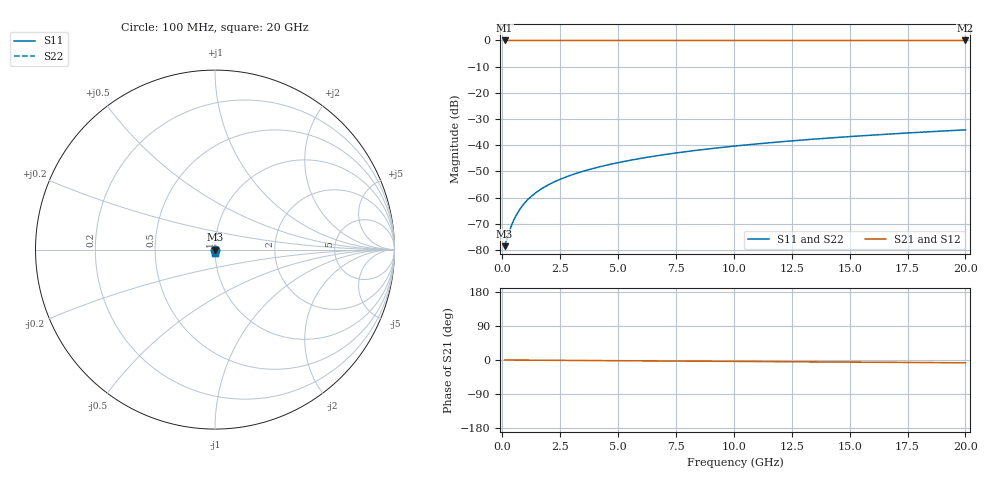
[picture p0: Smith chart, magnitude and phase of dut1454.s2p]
! Touchstone file exported from HFSS 2026.1.0
!  File:  C:/ffzhzh/LocalFiles/Ansys_Project_Files/temp_train_TSV_1454_1783197944_22436.aedt
!  Generated:  04:47:03 AM Jul  5, 2026
!  Design:  TSV
!  Project:  temp_train_TSV_1454_1783197944_22436
! Variables:
!  h_bsmrdl = 2um
!  h_ox = 20um
!  h_rdl = 5um
!  h_sub = 73.92um
!  h_tmrdl = 5um
!  h_tsv = 73.92um
!  h_via = 3um
!  l_bsmrdl = 300um
!  l_sub = 422.44um
!  l_tmrdl = 200um
!  m_sub = 200um
!  pitch = 38.84um
!  r_tsv = 11.22um
!  s_tmrdl = 10um
!  w_bsmrdl = 18um
!  w_sub = 500um
!  w_tmrdl = 12um
!  x_tsv_center1 = 206um
!  x_tsv_center2 = 524um
!  x_tsv_center3 = 736um
!  x_tsv_center4 = 1054um
!  x_tsv_center5 = 1266um
!  x_tsv_center6 = 1584um
# GHz S MA R 50.000000
! Terminal data exported
! Port[1] = TSV1_1_T1
! Port[2] = TSV1_1_T2
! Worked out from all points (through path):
!   200 points, 100 MHz to 20 GHz, reference 50 ohm
!   highest |S21| = 0.00 dB at 100 MHz (marker M1); lowest = 0.0 dB at 20 GHz (marker M2)
!   group delay of S21, straight-line fit = 1.02 ps
!   lowest |S11| = -78.5 dB at 100 MHz (marker M3), VSWR 1.00, Z = 50 - j0.00565 ohm
!   |S11| at or under -10 dB: start of sweep to end of sweep
!   |S22| runs from -78.5 to -34.1 dB; largest |S21 - S12| = 4.5e-15
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0.1  0.0001186 -28.4  0.9999 -0.0  0.9999 -0.0  0.0001186 -28.4
! Gamma 0 0 0 0
! Port Impedance 50 0 50 0
0.3  0.000226 -53.3  0.9999 -0.1  0.9999 -0.1  0.000226 -53.3
0.4  0.0002973 -58.1  0.9998 -0.2  0.9998 -0.2  0.0002973 -58.1
0.5  0.0003759 -61.4  0.9998 -0.2  0.9998 -0.2  0.0003759 -61.4
0.6  0.0004597 -63.9  0.9998 -0.2  0.9998 -0.2  0.0004597 -63.9
0.7  0.0005473 -65.9  0.9998 -0.3  0.9998 -0.3  0.0005473 -65.9
0.9  0.0007294 -69.2  0.9997 -0.3  0.9997 -0.3  0.0007294 -69.2
1.2  0.00101 -72.8  0.9997 -0.5  0.9997 -0.5  0.00101 -72.8
1.4  0.001199 -74.6  0.9997 -0.5  0.9997 -0.5  0.001199 -74.6
1.6  0.001389 -76.1  0.9996 -0.6  0.9996 -0.6  0.001389 -76.1
2.1  0.001863 -78.7  0.9996 -0.8  0.9996 -0.8  0.001863 -78.7
2.7  0.002433 -80.8  0.9996 -1.0  0.9996 -1.0  0.002433 -80.8
3.5  0.003199 -82.6  0.9995 -1.3  0.9995 -1.3  0.003199 -82.6
4.2  0.003875 -83.7  0.9995 -1.6  0.9995 -1.6  0.003875 -83.7
5  0.004654 -84.7  0.9994 -1.9  0.9994 -1.9  0.004654 -84.7
5.9  0.005538 -85.6  0.9994 -2.2  0.9994 -2.2  0.005538 -85.6
6.8  0.006428 -86.4  0.9993 -2.5  0.9993 -2.5  0.006428 -86.4
8.3  0.00792 -87.6  0.9992 -3.1  0.9992 -3.1  0.00792 -87.6
10.1  0.009718 -88.8  0.9991 -3.7  0.9991 -3.7  0.009718 -88.8
13.4  0.01303 -90.7  0.999 -4.9  0.999 -4.9  0.01303 -90.7
16.7  0.01635 -92.4  0.9988 -6.2  0.9988 -6.2  0.01635 -92.4
20  0.01968 -93.9  0.9986 -7.4  0.9986 -7.4  0.01968 -93.9
